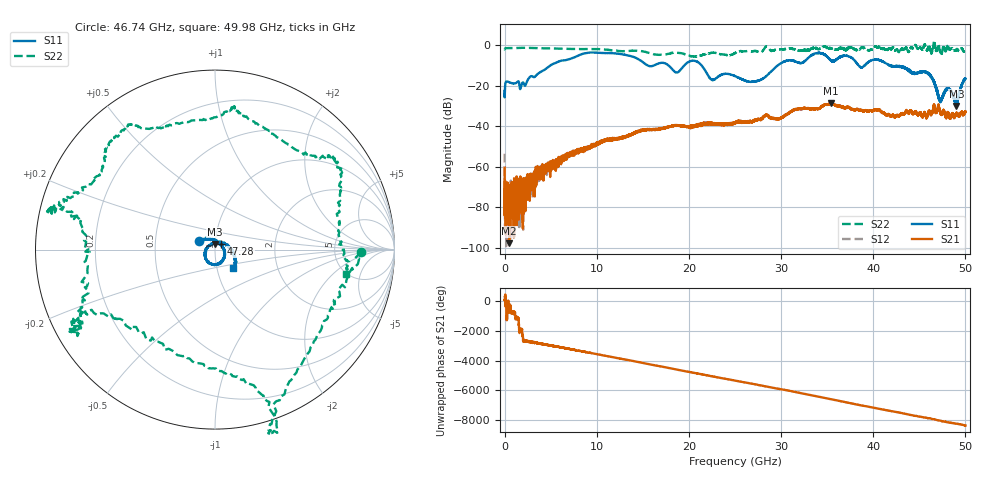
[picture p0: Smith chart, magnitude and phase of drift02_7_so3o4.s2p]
!Created with skrf (http://scikit-rf.org).
# Hz S RI R 50.0
!freq ReS11 ImS11 ReS21 ImS21 ReS12 ImS12 ReS22 ImS22
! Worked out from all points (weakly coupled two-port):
!   10001 points, 300 kHz to 50 GHz, reference 50 ohm
!   highest |S21| = -28.60 dB at 35.38 GHz (marker M1); lowest = -97.7 dB at 505.3 MHz (marker M2)
!   lowest |S11| = -29.9 dB at 49.03 GHz (marker M3), VSWR 1.07, Z = 49.7 + j3.16 ohm
!   |S11| at or under -10 dB: start of sweep to 4.959 GHz; 21.38 GHz to 29.63 GHz (8.255 GHz wide, 32.4 % of centre); 41.82 GHz to end of sweep (the widest 3 of 11)
!   |S22| runs from -5.7 to 2.3 dB; largest |S21 - S12| = 0.003
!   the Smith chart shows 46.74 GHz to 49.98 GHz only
!   S11 on the Smith chart (normalised r, x): 46.74 GHz: 0.83, +0.08; 47.28 GHz: 1.07, +0.07; 49.98 GHz: 1.20, -0.26
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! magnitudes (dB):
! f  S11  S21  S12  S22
! 300 kHz  -22.6  -60.5  -53.5  -2.1
! 255.3 MHz  -17.9  -72.2  -68.1  -1.4
! 505.3 MHz  -18.3  -97.7  -76.0  -1.5
! 1.875 GHz  -19.1  -71.8  -71.1  -1.3
! 3.935 GHz  -13.1  -62.9  -65.8  -1.5
! 8.335 GHz  -4.5  -51.2  -52.1  -1.9
! 16.67 GHz  -9.1  -41.1  -41.3  -4.8
! 18.69 GHz  -13.5  -39.5  -39.4  -3.8
! 20.6 GHz  -7.7  -39.5  -40.1  -5.7
! 22.5 GHz  -17.2  -38.6  -38.5  -3.8
! 25 GHz  -15.3  -38.1  -38.4  -3.9
! 27.46 GHz  -17.6  -36.7  -36.6  -3.1
! 33.34 GHz  -4.9  -31.4  -31.3  -1.6
! 35.38 GHz  -7.4  -28.6  -28.8  -1.5
! 41.67 GHz  -9.7  -34.1  -34.3  -1.9
! 45.76 GHz  -13.5  -35.1  -35.7  -1.7
! 46.74 GHz  -20.0  -32.7  -32.3  -1.8
! 47.28 GHz  -26.7  -32.9  -33.1  -3.6
! 48.15 GHz  -21.7  -33.7  -33.7  -0.8
! 49.03 GHz  -29.9  -33.6  -33.8  -2.1
! 49.98 GHz  -16.7  -32.6  -33.2  -2.6
! 50 GHz  -16.5  -32.8  -32.8  -2.6
